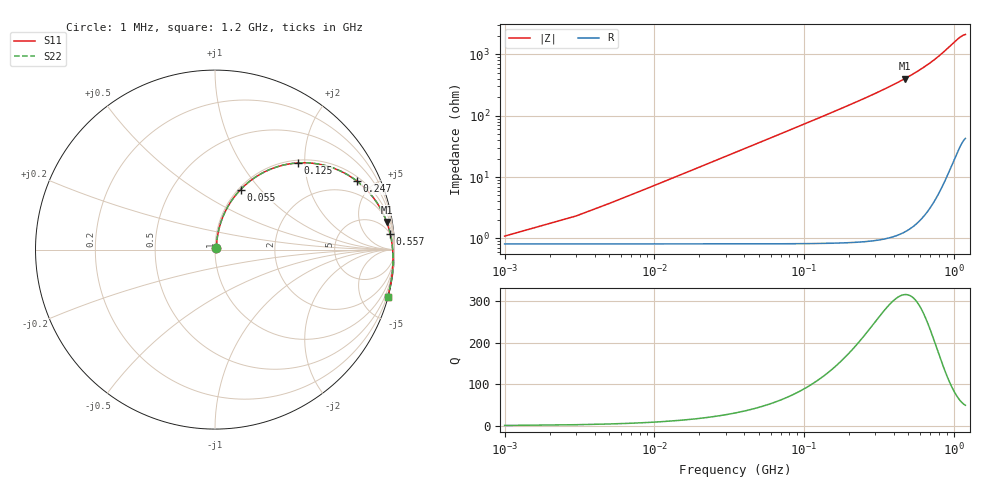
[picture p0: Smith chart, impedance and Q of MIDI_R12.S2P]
! Coilcraft 1812SMS-R12 Midi Spring Air Core Inductor
! 10 June 2003
# MHZ S MA R 50
!Freq  MagS11  AngS11  MagS21  AngS21  MagS12  AngS12  MagS22  AngS22
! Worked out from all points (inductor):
!   601 points, 1 MHz to 1.2 GHz, reference 50 ohm
!   read as one part in series: L = 115 nH near 7 MHz
!   highest Q = 316 at 471 MHz (marker M1), where L = 135 nH
!   S11 on the Smith chart (normalised r, x): 1 MHz: 1.02, +0.01; 55 MHz: 1.02, +0.79; 125 MHz: 1.06, +1.84; 247 MHz: 1.21, +4.00; 557 MHz: 5, +21; 1.2 GHz: 0.07, -7.47
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1  0.01071 41.0  0.9919 -0.4  0.9919 -0.4  0.01071 41.0
5  0.03626 75.1  0.9913 -2.1  0.9913 -2.1  0.03627 75.1
9  0.06406 79.1  0.99 -3.7  0.99 -3.7  0.06409 79.1
11  0.07802 79.5  0.989 -4.6  0.989 -4.6  0.07805 79.5
15  0.1059 79.5  0.9864 -6.2  0.9864 -6.2  0.1059 79.5
19  0.1335 78.7  0.9831 -7.9  0.9831 -7.9  0.1336 78.7
25  0.1744 77.1  0.9768 -10.3  0.9768 -10.3  0.1745 77.1
33  0.2277 74.5  0.9659 -13.5  0.9659 -13.5  0.2278 74.5
55  0.3634 66.9  0.9241 -21.9  0.9241 -21.9  0.3636 66.9
85  0.5174 57.2  0.8488 -32.0  0.8488 -32.0  0.5176 57.2
125  0.6666 46.4  0.7392 -43.1  0.7392 -43.1  0.6669 46.4
201  0.8256 31.9  0.5592 -57.7  0.5592 -57.7  0.826 31.9
247  0.8769 25.9  0.4761 -63.8  0.4761 -63.8  0.8773 25.9
315  0.9226 19.2  0.3818 -70.6  0.3818 -70.6  0.9229 19.2
401  0.954 13.0  0.2961 -76.8  0.2961 -76.8  0.9543 13.0
471  0.9687 9.1  0.2443 -80.7  0.2443 -80.7  0.9691 9.1
557  0.9799 5.2  0.195 -84.6  0.195 -84.6  0.9803 5.2
601  0.9838 3.4  0.1742 -86.4  0.1742 -86.4  0.9842 3.4
801  0.9935 -3.4  0.105 -93.1  0.105 -93.1  0.9939 -3.4
1001  0.9968 -9.3  0.06399 -98.6  0.06399 -98.6  0.9972 -9.3
1113  0.9973 -12.6  0.05106 -101.6  0.05106 -101.6  0.9977 -12.6
1200  0.9974 -15.3  0.04638 -104.1  0.04638 -104.1  0.9978 -15.3
